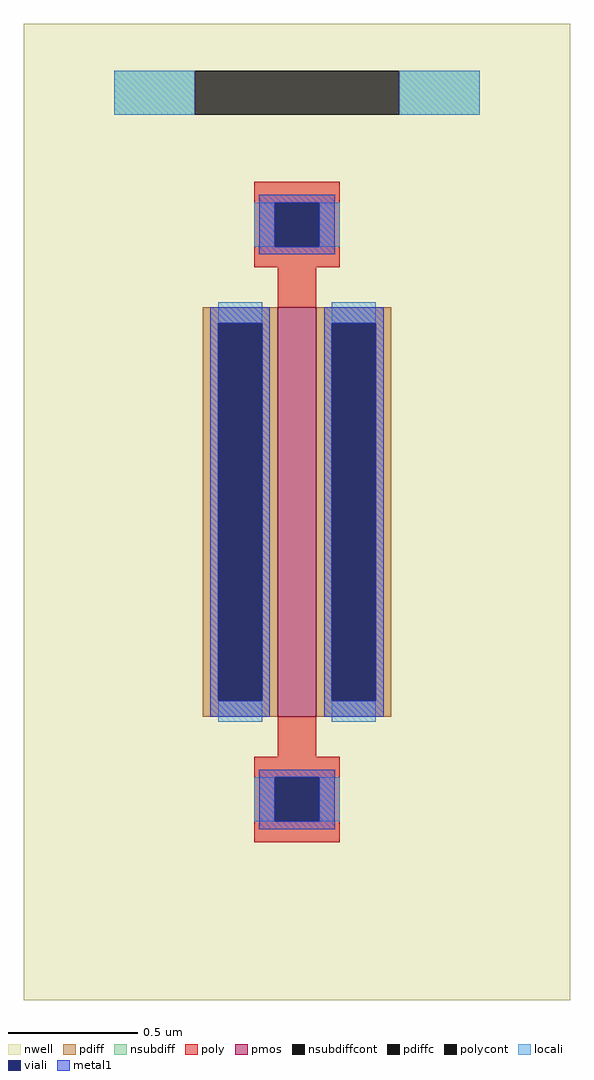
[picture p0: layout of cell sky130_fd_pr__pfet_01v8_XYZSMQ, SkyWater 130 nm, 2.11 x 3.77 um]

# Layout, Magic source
magic
tech sky130A
magscale 1 2
<< nwell >>
rect -211 -377 211 377
<< pmos >>
rect -15 -158 15 158
<< pdiff >>
rect -73 146 -15 158
rect -73 -146 -61 146
rect -27 -146 -15 146
rect -73 -158 -15 -146
rect 15 146 73 158
rect 15 -146 27 146
rect 61 -146 73 146
rect 15 -158 73 -146
<< pdiffc >>
rect -61 -146 -27 146
rect 27 -146 61 146
<< nsubdiff >>
rect -141 307 -79 341
rect 79 307 141 341
<< nsubdiffcont >>
rect -79 307 79 341
<< poly >>
rect -33 239 33 255
rect -33 205 -17 239
rect 17 205 33 239
rect -33 189 33 205
rect -15 158 15 189
rect -15 -189 15 -158
rect -33 -205 33 -189
rect -33 -239 -17 -205
rect 17 -239 33 -205
rect -33 -255 33 -239
<< polycont >>
rect -17 205 17 239
rect -17 -239 17 -205
<< locali >>
rect -141 307 -79 341
rect 79 307 141 341
rect -33 205 -17 239
rect 17 205 33 239
rect -61 146 -27 162
rect -61 -162 -27 -146
rect 27 146 61 162
rect 27 -162 61 -146
rect -33 -239 -17 -205
rect 17 -239 33 -205
<< viali >>
rect -17 205 17 239
rect -61 -146 -27 146
rect 27 -146 61 146
rect -17 -239 17 -205
<< metal1 >>
rect -29 239 29 245
rect -29 205 -17 239
rect 17 205 29 239
rect -29 199 29 205
rect -67 146 -21 158
rect -67 -146 -61 146
rect -27 -146 -21 146
rect -67 -158 -21 -146
rect 21 146 67 158
rect 21 -146 27 146
rect 61 -146 67 146
rect 21 -158 67 -146
rect -29 -205 29 -199
rect -29 -239 -17 -205
rect 17 -239 29 -205
rect -29 -245 29 -239
<< properties >>
string FIXED_BBOX -158 -324 158 324
string gencell sky130_fd_pr__pfet_01v8
string library sky130
string parameters w 1.58 l 0.15 m 1 nf 1 diffcov 100 polycov 100 guard 1 glc 1 grc 1 gtc 1 gbc 1 tbcov 100 rlcov 100 topc 1 botc 1 poverlap 0 doverlap 1 lmin 0.15 wmin 0.42 compatible {sky130_fd_pr__pfet_01v8  sky130_fd_pr__pfet_01v8_lvt sky130_fd_pr__pfet_01v8_hvt  sky130_fd_pr__pfet_g5v0d10v5} full_metal 1 viasrc 100 viadrn 100 viagate 100 viagb 0 viagr 0 viagl 0 viagt 0
<< end >>
